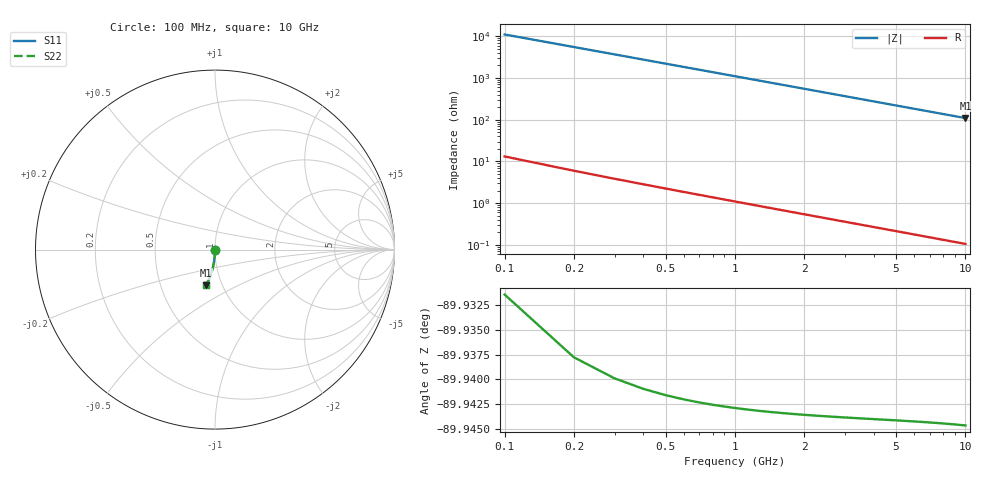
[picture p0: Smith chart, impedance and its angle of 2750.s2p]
# Hz S RI R 50.00
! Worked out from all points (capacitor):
!   100 points, 100 MHz to 10 GHz, reference 50 ohm
!   read as one part in shunt: C = 144 fF near 100 MHz
!   lowest |Z| = 110 ohm at 10 GHz (marker M1)
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1e8  5.7e-05 -0.00208  0.9999 -0.00245  0.9999 -0.00245  5.7e-05 -0.00208
2e8  3.99e-05 -0.00417  0.9999 -0.0049  0.9999 -0.0049  3.99e-05 -0.00417
3e8  1.25e-05 -0.00625  0.9999 -0.00735  0.9999 -0.00735  1.25e-05 -0.00625
4e8  -2.52e-05 -0.00833  0.9998 -0.0098  0.9998 -0.0098  -2.52e-05 -0.00833
5e8  -7.31e-05 -0.0104  0.9998 -0.0122  0.9998 -0.0122  -7.31e-05 -0.0104
6e8  -0.000131 -0.0125  0.9997 -0.0147  0.9997 -0.0147  -0.000131 -0.0125
7e8  -0.0002 -0.0146  0.9997 -0.0171  0.9997 -0.0171  -0.0002 -0.0146
8e8  -0.000278 -0.0167  0.9996 -0.0196  0.9996 -0.0196  -0.000278 -0.0167
9e8  -0.000367 -0.0187  0.9995 -0.022  0.9995 -0.022  -0.000367 -0.0187
1.1e9  -0.000575 -0.0229  0.9993 -0.0269  0.9993 -0.0269  -0.000575 -0.0229
1.4e9  -0.000964 -0.0292  0.9989 -0.0343  0.9989 -0.0343  -0.000964 -0.0292
1.8e9  -0.00163 -0.0375  0.9982 -0.0441  0.9982 -0.0441  -0.00163 -0.0375
2.1e9  -0.00223 -0.0437  0.9976 -0.0514  0.9976 -0.0514  -0.00223 -0.0437
2.5e9  -0.00318 -0.052  0.9966 -0.0611  0.9966 -0.0611  -0.00318 -0.052
2.9e9  -0.00428 -0.0603  0.9955 -0.0709  0.9955 -0.0709  -0.00428 -0.0603
3.4e9  -0.0059 -0.0706  0.9939 -0.083  0.9939 -0.083  -0.0059 -0.0706
4.2e9  -0.009 -0.0869  0.9907 -0.1023  0.9907 -0.1023  -0.009 -0.0869
5.1e9  -0.0133 -0.1052  0.9864 -0.1239  0.9864 -0.1239  -0.0133 -0.1052
5.9e9  -0.0177 -0.1212  0.9819 -0.1429  0.9819 -0.1429  -0.0177 -0.1212
6.7e9  -0.0227 -0.137  0.9768 -0.1617  0.9768 -0.1617  -0.0227 -0.137
8.4e9  -0.0354 -0.1697  0.9639 -0.2007  0.9639 -0.2007  -0.0354 -0.1697
1e10  -0.0497 -0.1992  0.9495 -0.2362  0.9495 -0.2362  -0.0497 -0.1992
